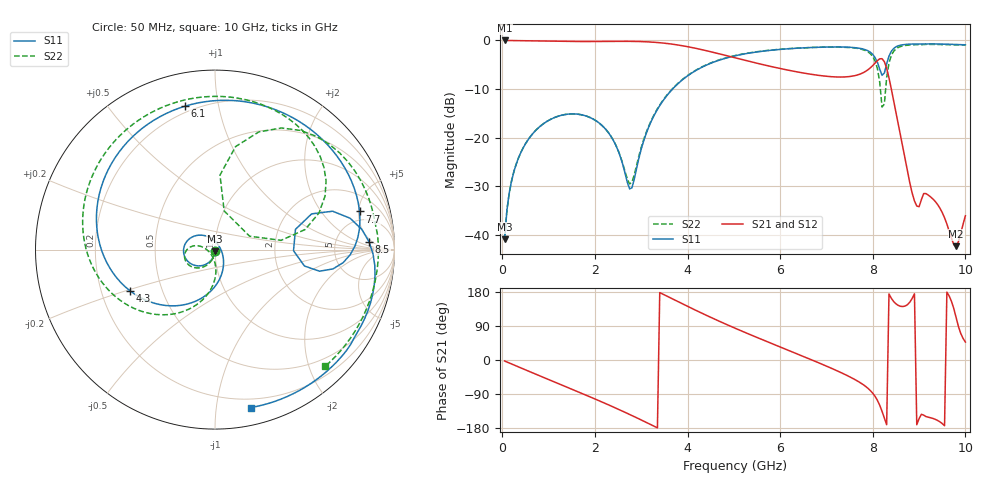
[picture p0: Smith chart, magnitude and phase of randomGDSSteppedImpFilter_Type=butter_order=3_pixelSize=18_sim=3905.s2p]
! freq	dB(S11)	phase(S11)	dB(S12)	phase(S12)
!  dB(S21)	phase(S21)	dB(S22)	phase(S22)
!S-par simulation data
#  GHz  S  DB  R 50
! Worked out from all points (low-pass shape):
!   200 points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, 50 MHz to 10 GHz, reference 50 ohm
!   highest |S21| = 0.00 dB at 50 MHz (marker M1); lowest = -42.3 dB at 9.8 GHz (marker M2)
!   |S21| within 3 dB of the highest: start of sweep to 4.79 GHz
!   lowest |S11| = -40.9 dB at 50 MHz (marker M3), VSWR 1.02, Z = 50 - j0.901 ohm
!   |S11| at or under -10 dB: start of sweep to 3.676 GHz
!   |S22| runs from -40.9 to -0.8 dB; largest |S21 - S12| = 0
!   S11 on the Smith chart (normalised r, x): 50 MHz: 1.00, -0.02; 4.3 GHz: 0.32, -0.20; 6.1 GHz: 0.17, +0.80; 7.7 GHz: 3.69, +5.12; 8.5 GHz: 12, +4; 10 GHz: 0.13, -1.24
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0.05  -40.89 -92.5  -0.00 -2.7  -0.00 -2.7  -40.89 -92.1
0.2  -28.90 -101.3  -0.02 -10.5  -0.02 -10.5  -28.89 -99.7
0.5  -21.26 -118.3  -0.06 -26.0  -0.06 -26.0  -21.25 -114.3
1.75  -15.38 170.7  -0.23 -89.8  -0.23 -89.8  -15.37 -171.5
2.35  -19.78 129.3  -0.19 -121.4  -0.19 -121.4  -19.75 167.7
2.75  -30.54 41.9  -0.19 -143.7  -0.19 -143.7  -29.51 -148.0
3.4  -13.40 -91.8  -0.47 177.9  -0.47 177.9  -13.28 -95.4
4.3  -5.56 -154.4  -1.88 124.0  -1.88 124.0  -5.49 -139.4
5.05  -3.11 160.1  -3.63 82.7  -3.63 82.7  -3.06 -175.9
6.1  -1.76 102.0  -5.97 29.4  -5.97 29.4  -1.74 136.6
6.7  -1.44 70.0  -7.01 -0.6  -7.01 -0.6  -1.45 109.0
7.7  -1.59 14.8  -7.01 -57.6  -7.01 -57.6  -1.69 53.7
8  -2.88 -5.8  -5.16 -87.8  -5.16 -87.8  -3.32 26.0
8.15  -5.90 -10.4  -3.78 -119.5  -3.78 -119.5  -8.59 7.9
8.2  -7.18 -0.8  -3.75 -135.4  -3.75 -135.4  -13.70 21.2
8.25  -6.70 14.1  -4.36 -153.3  -4.36 -153.3  -13.09 76.7
8.35  -3.23 18.1  -7.68 174.4  -7.68 174.4  -4.65 78.7
8.5  -1.32 2.9  -14.75 148.3  -14.75 148.3  -1.75 54.3
8.9  -0.74 -24.8  -33.01 174.7  -33.01 174.7  -0.88 18.1
9.35  -0.72 -47.6  -33.12 -156.6  -33.12 -156.6  -0.82 -10.3
9.8  -0.83 -68.4  -42.31 111.6  -42.31 111.6  -0.91 -35.9
10  -0.90 -77.3  -36.05 47.4  -36.05 47.4  -0.97 -46.7
